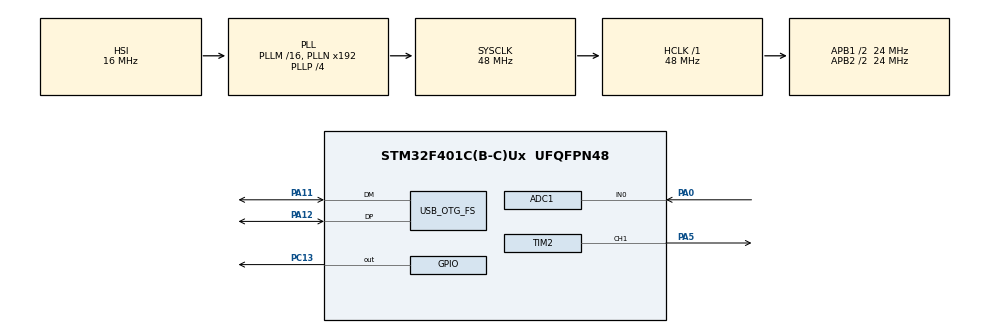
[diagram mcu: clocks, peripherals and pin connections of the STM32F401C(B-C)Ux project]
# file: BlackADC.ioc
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ADC1.Channel-0\#ChannelRegularConversion=ADC_CHANNEL_0
ADC1.ClockPrescaler=ADC_CLOCK_SYNC_PCLK_DIV2
ADC1.ContinuousConvMode=ENABLE
ADC1.DMAContinuousRequests=ENABLE
ADC1.NbrOfConversionFlag=1
ADC1.Rank-0\#ChannelRegularConversion=1
ADC1.Resolution=ADC_RESOLUTION_8B
ADC1.SamplingTime-0\#ChannelRegularConversion=ADC_SAMPLETIME_3CYCLES
ADC1.ScanConvMode=DISABLE
ADC1.master=1
Dma.ADC1.0.Direction=DMA_PERIPH_TO_MEMORY
Dma.ADC1.0.FIFOMode=DMA_FIFOMODE_DISABLE
Dma.ADC1.0.Instance=DMA2_Stream0
Dma.ADC1.0.MemDataAlignment=DMA_MDATAALIGN_BYTE
Dma.ADC1.0.MemInc=DMA_MINC_ENABLE
Dma.ADC1.0.Mode=DMA_CIRCULAR
Dma.ADC1.0.PeriphDataAlignment=DMA_PDATAALIGN_BYTE
Dma.ADC1.0.PeriphInc=DMA_PINC_DISABLE
Dma.ADC1.0.Priority=DMA_PRIORITY_LOW
Dma.Request0=ADC1
Mcu.Family=STM32F4
Mcu.Name=STM32F401C(B-C)Ux
Mcu.Package=UFQFPN48
NVIC.DMA2_Stream0_IRQn=true\:0\:0\:false\:false\:true\:false\:true\:true
NVIC.OTG_FS_IRQn=true\:0\:0\:false\:false\:true\:false\:true\:true
NVIC.PriorityGroup=NVIC_PRIORITYGROUP_4
PA0-WKUP.Signal=ADCx_IN0
PA11.Mode=Device_Only
PA11.Signal=USB_OTG_FS_DM
PA12.Mode=Device_Only
PA12.Signal=USB_OTG_FS_DP
PA5.Signal=S_TIM2_CH1_ETR
PC13-ANTI_TAMP.Signal=GPIO_Output
PH0\ -\ OSC_IN.Mode=HSE-External-Oscillator
PH0\ -\ OSC_IN.Signal=RCC_OSC_IN
PH1\ -\ OSC_OUT.Mode=HSE-External-Oscillator
PH1\ -\ OSC_OUT.Signal=RCC_OSC_OUT
ProjectManager.HeapSize=0x200
ProjectManager.StackSize=0x400
ProjectManager.TargetToolchain=STM32CubeIDE
RCC.48MHZClocksFreq_Value=48000000
RCC.AHBFreq_Value=48000000
RCC.APB1CLKDivider=RCC_HCLK_DIV2
RCC.APB1Freq_Value=24000000
RCC.APB1TimFreq_Value=48000000
RCC.APB2CLKDivider=RCC_HCLK_DIV2
RCC.APB2Freq_Value=24000000
RCC.APB2TimFreq_Value=48000000
RCC.CortexFreq_Value=48000000
RCC.HCLKFreq_Value=48000000
RCC.HSE_VALUE=25000000
RCC.HSI_VALUE=16000000
RCC.LSE_VALUE=32768
RCC.PLLP=RCC_PLLP_DIV4
RCC.PLLSourceVirtualString=RCC_PLLSOURCE_HSI
RCC.SYSCLKFreq_VALUE=48000000
RCC.SYSCLKSource=RCC_SYSCLKSOURCE_PLLCLK
RCC.VCOOutputFreq_Value=192000000
SH.ADCx_IN0.0=ADC1_IN0,IN0
SH.S_TIM2_CH1_ETR.0=TIM2_CH1,PWM Generation1 CH1
TIM2.AutoReloadPreload=TIM_AUTORELOAD_PRELOAD_ENABLE
TIM2.Channel-PWM\ Generation1\ CH1=TIM_CHANNEL_1
TIM2.Period=100-1
TIM2.Prescaler=16-1
USB_DEVICE.CLASS_NAME_FS=CDC
USB_DEVICE.VirtualMode=Cdc
USB_DEVICE.VirtualModeFS=Cdc_FS
USB_OTG_FS.VirtualMode=Device_Only
VP_TIM2_VS_ClockSourceINT.Mode=Internal
VP_USB_DEVICE_VS_USB_DEVICE_CDC_FS.Mode=CDC_FS
board=custom

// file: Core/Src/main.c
/* USER CODE BEGIN Header */
/**
  ******************************************************************************
  * @file           : main.c
  * @brief          : Main program body
  ******************************************************************************
  * @attention
  *
  * Copyright (c) 2024 STMicroelectronics.
  * All rights reserved.
  *
  * This software is licensed under terms that can be found in the LICENSE file
  * in the root directory of this software component.
  * If no LICENSE file comes with this software, it is provided AS-IS.
  *
  ******************************************************************************
  */
/* USER CODE END Header */
#include "main.h"
#include "usb_device.h"

/* USER CODE BEGIN Includes */
#include "usbd_cdc_if.h"
/* USER CODE END Includes */

/* USER CODE BEGIN PD */
// ADC BUFFER LENGTH = 4096*2 (12 bit resolution) or 8192*1 (8 bit resolution)
#define USB_HEADER_LEN 8
#define ADC_BUFFER_LEN 8192
/* USER CODE END PD */

ADC_HandleTypeDef hadc1;
DMA_HandleTypeDef hdma_adc1;

TIM_HandleTypeDef htim2;

/* USER CODE BEGIN PV */

// USB BUFFER LENGTH = ADC COUNT (4) + TIMESTAMP MS (4) + ADC_BUF_LEN

const uint32_t usb_adc_buf_len = USB_HEADER_LEN + ADC_BUFFER_LEN;
const uint32_t usb_adc_buf_len_1 = USB_HEADER_LEN + (ADC_BUFFER_LEN >> 1);
const uint32_t usb_adc_buf_len_2 = (ADC_BUFFER_LEN >> 1);

uint8_t  usb_adc_buf[USB_HEADER_LEN + ADC_BUFFER_LEN];

uint32_t adc_samples_per_second = 0;
uint16_t adc_buf_local_count = 0;  // count the number of buffers called during one iteration
uint32_t adc_buf_total_count = 0;  // count the number of buffers since start

/* USER CODE END PV */

void SystemClock_Config(void);
static void MX_GPIO_Init(void);
static void MX_DMA_Init(void);
static void MX_ADC1_Init(void);
static void MX_TIM2_Init(void);

int main(void)
{

  /* MCU Configuration--------------------------------------------------------*/

  /* Reset of all peripherals, Initializes the Flash interface and the Systick. */
  HAL_Init();

  /* Configure the system clock */
  SystemClock_Config();

  /* Initialize all configured peripherals */
  MX_GPIO_Init();
  MX_DMA_Init();
  MX_ADC1_Init();
  MX_USB_DEVICE_Init();
  MX_TIM2_Init();
  /* USER CODE BEGIN 2 */
  for (uint32_t i=0; i<usb_adc_buf_len; i++)
	  usb_adc_buf[i] = 0;
  HAL_ADC_Start_DMA(&hadc1, (uint32_t*)(usb_adc_buf + USB_HEADER_LEN), ADC_BUFFER_LEN);

  // PWM with 30% duty cycle
  TIM2->CCR1 = 30;
  HAL_TIM_PWM_Start(&htim2, TIM_CHANNEL_1);

  /* USER CODE END 2 */

  /* Infinite loop */
  /* USER CODE BEGIN WHILE */
  while (1)
  {
    // Toggle PC13 LED when buffer has been filled (potentially filled a few time)
    if (adc_buf_local_count != 0) {
      // Toggle LED when ADC is operating
      HAL_GPIO_TogglePin(GPIOC, GPIO_PIN_13);

      // Get a sample from ADC buffer
      // raw = ((uint8_t*)(adc_buf))[0];

      // uint32_t elapsed_time_ms = HAL_GetTick();

      // measure sample per seconds
      uint32_t sps = adc_buf_local_count * ADC_BUFFER_LEN;
      if (hadc1.Init.Resolution == ADC_RESOLUTION_12B || hadc1.Init.Resolution == ADC_RESOLUTION_10B)
    	  sps = sps >> 1;
      adc_samples_per_second = sps;

      adc_buf_local_count = 0;
    }
    HAL_Delay(1000);  // wait a second

    /*
    // Get a single ADC value
    HAL_ADC_Start(&hadc1);
    HAL_ADC_PollForConversion(&hadc1, HAL_MAX_DELAY);
    raw = HAL_ADC_GetValue(&hadc1);
    */

    /* USER CODE END WHILE */

  }
}

void SystemClock_Config(void)
{
  RCC_OscInitTypeDef RCC_OscInitStruct = {0};
  RCC_ClkInitTypeDef RCC_ClkInitStruct = {0};

  /** Configure the main internal regulator output voltage
  */
  __HAL_RCC_PWR_CLK_ENABLE();
  __HAL_PWR_VOLTAGESCALING_CONFIG(PWR_REGULATOR_VOLTAGE_SCALE2);

  /** Initializes the RCC Oscillators according to the specified parameters
  * in the RCC_OscInitTypeDef structure.
  */
  RCC_OscInitStruct.OscillatorType = RCC_OSCILLATORTYPE_HSI;
  RCC_OscInitStruct.HSIState = RCC_HSI_ON;
  RCC_OscInitStruct.HSICalibrationValue = RCC_HSICALIBRATION_DEFAULT;
  RCC_OscInitStruct.PLL.PLLState = RCC_PLL_ON;
  RCC_OscInitStruct.PLL.PLLSource = RCC_PLLSOURCE_HSI;
  RCC_OscInitStruct.PLL.PLLM = 16;
  RCC_OscInitStruct.PLL.PLLN = 192;
  RCC_OscInitStruct.PLL.PLLP = RCC_PLLP_DIV4;
  RCC_OscInitStruct.PLL.PLLQ = 4;
  if (HAL_RCC_OscConfig(&RCC_OscInitStruct) != HAL_OK)
  {
    Error_Handler();
  }

  /** Initializes the CPU, AHB and APB buses clocks
  */
  RCC_ClkInitStruct.ClockType = RCC_CLOCKTYPE_HCLK|RCC_CLOCKTYPE_SYSCLK
                              |RCC_CLOCKTYPE_PCLK1|RCC_CLOCKTYPE_PCLK2;
  RCC_ClkInitStruct.SYSCLKSource = RCC_SYSCLKSOURCE_PLLCLK;
  RCC_ClkInitStruct.AHBCLKDivider = RCC_SYSCLK_DIV1;
  RCC_ClkInitStruct.APB1CLKDivider = RCC_HCLK_DIV2;
  RCC_ClkInitStruct.APB2CLKDivider = RCC_HCLK_DIV2;

  if (HAL_RCC_ClockConfig(&RCC_ClkInitStruct, FLASH_LATENCY_1) != HAL_OK)
  {
    Error_Handler();
  }
}

static void MX_ADC1_Init(void)
{

  ADC_ChannelConfTypeDef sConfig = {0};

  /** Configure the global features of the ADC (Clock, Resolution, Data Alignment and number of conversion)
  */
  hadc1.Instance = ADC1;
  hadc1.Init.ClockPrescaler = ADC_CLOCK_SYNC_PCLK_DIV2;
  hadc1.Init.Resolution = ADC_RESOLUTION_8B;
  hadc1.Init.ScanConvMode = DISABLE;
  hadc1.Init.ContinuousConvMode = ENABLE;
  hadc1.Init.DiscontinuousConvMode = DISABLE;
  hadc1.Init.ExternalTrigConvEdge = ADC_EXTERNALTRIGCONVEDGE_NONE;
  hadc1.Init.ExternalTrigConv = ADC_SOFTWARE_START;
  hadc1.Init.DataAlign = ADC_DATAALIGN_RIGHT;
  hadc1.Init.NbrOfConversion = 1;
  hadc1.Init.DMAContinuousRequests = ENABLE;
  hadc1.Init.EOCSelection = ADC_EOC_SINGLE_CONV;
  if (HAL_ADC_Init(&hadc1) != HAL_OK)
  {
    Error_Handler();
  }

  /** Configure for the selected ADC regular channel its corresponding rank in the sequencer and its sample time.
  */
  sConfig.Channel = ADC_CHANNEL_0;
  sConfig.Rank = 1;
  sConfig.SamplingTime = ADC_SAMPLETIME_3CYCLES;
  if (HAL_ADC_ConfigChannel(&hadc1, &sConfig) != HAL_OK)
  {
    Error_Handler();
  }

}

static void MX_TIM2_Init(void)
{

  TIM_ClockConfigTypeDef sClockSourceConfig = {0};
  TIM_MasterConfigTypeDef sMasterConfig = {0};
  TIM_OC_InitTypeDef sConfigOC = {0};

  htim2.Instance = TIM2;
  htim2.Init.Prescaler = 16-1;
  htim2.Init.CounterMode = TIM_COUNTERMODE_UP;
  htim2.Init.Period = 100-1;
  htim2.Init.ClockDivision = TIM_CLOCKDIVISION_DIV1;
  htim2.Init.AutoReloadPreload = TIM_AUTORELOAD_PRELOAD_ENABLE;
  if (HAL_TIM_Base_Init(&htim2) != HAL_OK)
  {
    Error_Handler();
  }
  sClockSourceConfig.ClockSource = TIM_CLOCKSOURCE_INTERNAL;
  if (HAL_TIM_ConfigClockSource(&htim2, &sClockSourceConfig) != HAL_OK)
  {
    Error_Handler();
  }
  if (HAL_TIM_PWM_Init(&htim2) != HAL_OK)
  {
    Error_Handler();
  }
  sMasterConfig.MasterOutputTrigger = TIM_TRGO_RESET;
  sMasterConfig.MasterSlaveMode = TIM_MASTERSLAVEMODE_DISABLE;
  if (HAL_TIMEx_MasterConfigSynchronization(&htim2, &sMasterConfig) != HAL_OK)
  {
    Error_Handler();
  }
  sConfigOC.OCMode = TIM_OCMODE_PWM1;
  sConfigOC.Pulse = 0;
  sConfigOC.OCPolarity = TIM_OCPOLARITY_HIGH;
  sConfigOC.OCFastMode = TIM_OCFAST_DISABLE;
  if (HAL_TIM_PWM_ConfigChannel(&htim2, &sConfigOC, TIM_CHANNEL_1) != HAL_OK)
  {
    Error_Handler();
  }
  HAL_TIM_MspPostInit(&htim2);

}

static void MX_DMA_Init(void)
{

  /* DMA controller clock enable */
  __HAL_RCC_DMA2_CLK_ENABLE();

  /* DMA interrupt init */
  /* DMA2_Stream0_IRQn interrupt configuration */
  HAL_NVIC_SetPriority(DMA2_Stream0_IRQn, 0, 0);
  HAL_NVIC_EnableIRQ(DMA2_Stream0_IRQn);

}

static void MX_GPIO_Init(void)
{
  GPIO_InitTypeDef GPIO_InitStruct = {0};

  /* GPIO Ports Clock Enable */
  __HAL_RCC_GPIOC_CLK_ENABLE();
  __HAL_RCC_GPIOH_CLK_ENABLE();
  __HAL_RCC_GPIOA_CLK_ENABLE();

  /*Configure GPIO pin Output Level */
  HAL_GPIO_WritePin(GPIOC, GPIO_PIN_13, GPIO_PIN_RESET);

  /*Configure GPIO pin : PC13 */
  GPIO_InitStruct.Pin = GPIO_PIN_13;
  GPIO_InitStruct.Mode = GPIO_MODE_OUTPUT_PP;
  GPIO_InitStruct.Pull = GPIO_NOPULL;
  GPIO_InitStruct.Speed = GPIO_SPEED_FREQ_LOW;
  HAL_GPIO_Init(GPIOC, &GPIO_InitStruct);

}

/* USER CODE BEGIN 4 */

// Called when first half of buffer is filled
void HAL_ADC_ConvHalfCpltCallback(ADC_HandleTypeDef* hadc) {
	// sending buffer first half
	if (usb_adc_transmitting == 2)
	{
		usb_adc_transmitting = 1;
		usb_adc_transmit(0);
	}
}

// Called when buffer is completely filled
void HAL_ADC_ConvCpltCallback(ADC_HandleTypeDef* hadc) {
	adc_buf_local_count++;
	adc_buf_total_count++;

	// write counter and timestamp at beginning of USB ADC buffer
	uint32_t* uintPtr = (uint32_t*)usb_adc_buf;
	uintPtr[0] = adc_buf_total_count;
	uintPtr[1] = HAL_GetTick();

	// sending buffer second half
	if (usb_adc_transmitting == 1)
	{
		usb_adc_transmitting = 2;
		usb_adc_transmit(0);
	}

}

/* USER CODE END 4 */

void Error_Handler(void)
{
  __disable_irq();
  while (1)
  {
  }
}
